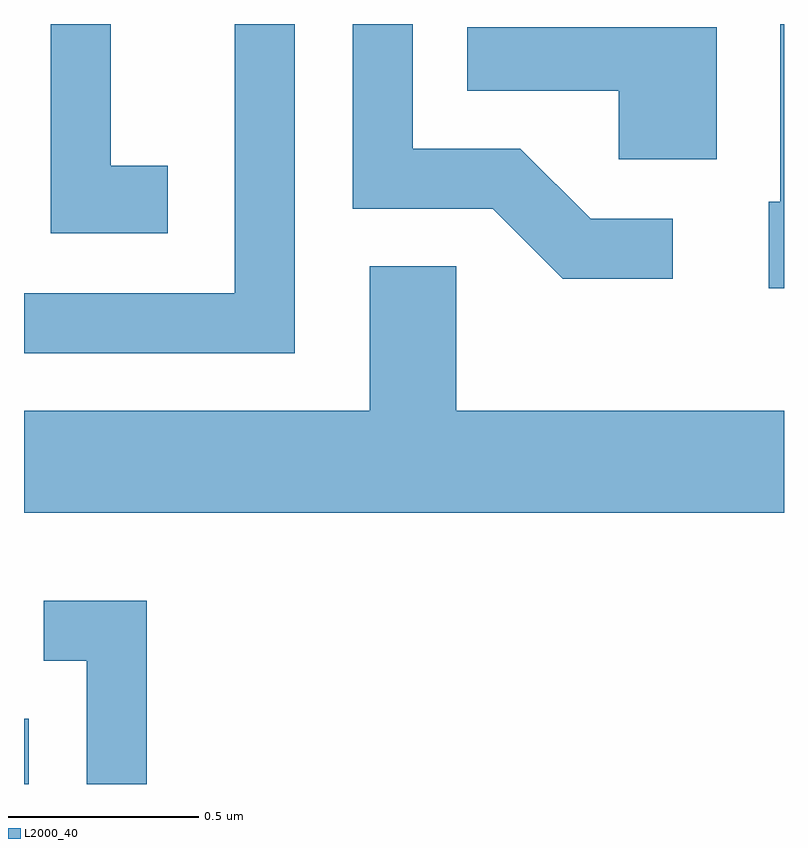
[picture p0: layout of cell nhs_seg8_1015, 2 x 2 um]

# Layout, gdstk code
import gdstk
lib = gdstk.Library(unit=1e-6, precision=1e-09)
def R(c, l, rs):  # rectangles x0, y0, x1, y1
    for r in rs: c.add(gdstk.rectangle(r[:2], r[2:], *l))
def P(c, l, *ps):  # polygons
    for p in ps: c.add(gdstk.Polygon(p, *l))
L2000_40 = (2000, 40)

nhs_seg8_1015 = lib.new_cell('nhs_seg8_1015')
R(nhs_seg8_1015, L2000_40, [(192.611,1862.342,192.624,1862.514)])
P(nhs_seg8_1015, L2000_40, [(193.324,1864.342),(193.166,1864.342),(193.166,1863.634),(192.611,1863.634),(192.611,1863.476),(193.324,1863.476)],
  [(194.611,1864.342),(194.601,1864.342),(194.601,1863.874),(194.571,1863.874),(194.571,1863.646),(194.611,1863.646)],
  [(194.318,1863.829),(194.102,1863.829),(193.917,1864.014),(193.634,1864.014),(193.634,1864.342),(193.476,1864.342),(193.476,1863.856),(193.844,1863.856),(194.029,1863.671),(194.318,1863.671)],
  [(192.989,1863.969),(192.839,1863.969),(192.839,1864.342),(192.681,1864.342),(192.681,1863.791),(192.989,1863.791)],
  [(194.434,1864.334),(193.778,1864.334),(193.778,1864.166),(194.176,1864.166),(194.176,1863.986),(194.434,1863.986)],
  [(194.611,1863.324),(193.749,1863.324),(193.749,1863.704),(193.521,1863.704),(193.521,1863.324),(192.611,1863.324),(192.611,1863.056),(194.611,1863.056)],
  [(192.934,1862.824),(192.663,1862.824),(192.663,1862.666),(192.776,1862.666),(192.776,1862.342),(192.934,1862.342)])

lib.write_gds('nhs_seg8_1015.gds')
